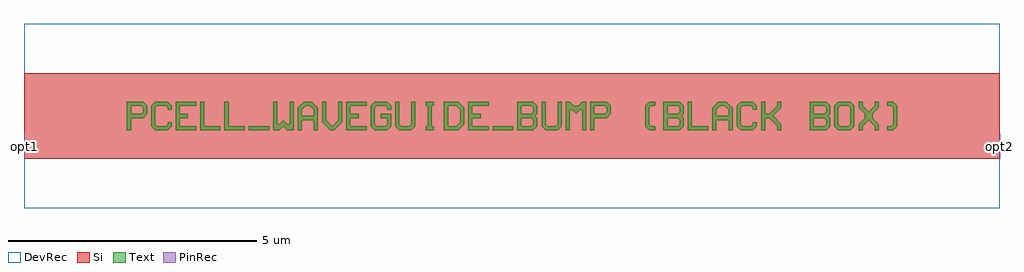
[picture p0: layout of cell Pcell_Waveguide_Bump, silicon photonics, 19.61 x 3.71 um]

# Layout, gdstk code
import gdstk
lib = gdstk.Library(unit=1e-6, precision=1e-09)
def R(c, l, rs):  # rectangles x0, y0, x1, y1
    for r in rs: c.add(gdstk.rectangle(r[:2], r[2:], *l))
def P(c, l, *ps):  # polygons
    for p in ps: c.add(gdstk.Polygon(p, *l))
Si = (1, 0)
PinRec = (1, 10)
Text = (10, 0)
DevRec = (68, 0)

text = lib.new_cell('TEXT')
R(text, Text, [(2.45,0,2.858,0.082), (7.35,0,7.758,0.082)])
P(text, Text, [(0,0),(0,0.571),(0.327,0.571),(0.408,0.49),(0.408,0.327),(0.327,0.245),(0.082,0.245),(0.082,0.327),(0.286,0.327),(0.327,0.367),(0.327,0.449),(0.286,0.49),(0.082,0.49),(0.082,0)],
  [(0.572,0),(0.49,0.082),(0.49,0.49),(0.572,0.571),(0.817,0.571),(0.898,0.49),(0.898,0.408),(0.817,0.408),(0.817,0.449),(0.776,0.49),(0.612,0.49),(0.572,0.449),(0.572,0.122),(0.612,0.082),(0.776,0.082),(0.817,0.122),(0.817,0.163),(0.898,0.163),(0.898,0.082),(0.817,0)],
  [(0.98,0),(0.98,0.571),(1.388,0.571),(1.388,0.49),(1.062,0.49),(1.062,0.327),(1.225,0.327),(1.225,0.245),(1.062,0.245),(1.062,0.082),(1.388,0.082),(1.388,0)],
  [(1.47,0),(1.47,0.571),(1.552,0.571),(1.552,0.082),(1.878,0.082),(1.878,0)],
  [(1.96,0),(1.96,0.571),(2.042,0.571),(2.042,0.082),(2.368,0.082),(2.368,0)],
  [(2.94,0),(2.94,0.571),(3.022,0.571),(3.022,0.122),(3.062,0.122),(3.144,0.204),(3.226,0.122),(3.267,0.122),(3.267,0.571),(3.348,0.571),(3.348,0),(3.226,0),(3.144,0.082),(3.062,0)],
  [(3.43,0),(3.43,0.449),(3.552,0.571),(3.716,0.571),(3.797,0.49),(3.593,0.49),(3.512,0.408),(3.512,0.286),(3.757,0.286),(3.757,0.408),(3.675,0.49),(3.797,0.49),(3.838,0.449),(3.838,0),(3.757,0),(3.757,0.204),(3.512,0.204),(3.512,0)],
  [(4.083,0),(3.92,0.163),(3.92,0.571),(4.002,0.571),(4.002,0.204),(4.124,0.082),(4.247,0.204),(4.247,0.571),(4.328,0.571),(4.328,0.163),(4.165,0)],
  [(4.41,0),(4.41,0.571),(4.818,0.571),(4.818,0.49),(4.492,0.49),(4.492,0.327),(4.655,0.327),(4.655,0.245),(4.492,0.245),(4.492,0.082),(4.818,0.082),(4.818,0)],
  [(4.982,0),(4.9,0.082),(4.9,0.49),(4.982,0.571),(5.227,0.571),(5.308,0.49),(5.308,0.408),(5.227,0.408),(5.227,0.449),(5.186,0.49),(5.022,0.49),(4.982,0.449),(4.982,0.122),(5.022,0.082),(5.186,0.082),(5.227,0.122),(5.227,0.245),(5.104,0.245),(5.104,0.327),(5.308,0.327),(5.308,0.082),(5.227,0)],
  [(5.472,0),(5.39,0.082),(5.39,0.571),(5.472,0.571),(5.472,0.122),(5.512,0.082),(5.676,0.082),(5.717,0.122),(5.717,0.571),(5.798,0.571),(5.798,0.082),(5.717,0)],
  [(6.002,0),(6.002,0.082),(6.043,0.082),(6.043,0.49),(6.002,0.49),(6.002,0.571),(6.166,0.571),(6.166,0.49),(6.125,0.49),(6.125,0.082),(6.166,0.082),(6.166,0)],
  [(6.37,0),(6.37,0.571),(6.656,0.571),(6.737,0.49),(6.452,0.49),(6.452,0.082),(6.615,0.082),(6.697,0.163),(6.697,0.408),(6.615,0.49),(6.737,0.49),(6.778,0.449),(6.778,0.122),(6.656,0)],
  [(6.86,0),(6.86,0.571),(7.268,0.571),(7.268,0.49),(6.942,0.49),(6.942,0.327),(7.105,0.327),(7.105,0.245),(6.942,0.245),(6.942,0.082),(7.268,0.082),(7.268,0)],
  [(7.84,0),(7.84,0.571),(8.167,0.571),(8.248,0.49),(7.922,0.49),(7.922,0.327),(8.126,0.327),(8.167,0.367),(8.167,0.449),(8.126,0.49),(8.248,0.49),(8.248,0.327),(8.207,0.286),(8.248,0.245),(7.922,0.245),(7.922,0.082),(8.126,0.082),(8.167,0.122),(8.167,0.204),(8.126,0.245),(8.248,0.245),(8.248,0.082),(8.167,0)],
  [(8.412,0),(8.33,0.082),(8.33,0.571),(8.412,0.571),(8.412,0.122),(8.452,0.082),(8.616,0.082),(8.657,0.122),(8.657,0.571),(8.738,0.571),(8.738,0.082),(8.657,0)],
  [(8.82,0),(8.82,0.571),(8.902,0.571),(8.983,0.49),(9.065,0.49),(9.147,0.571),(9.228,0.571),(9.228,0),(9.147,0),(9.147,0.408),(9.106,0.408),(9.024,0.327),(8.942,0.408),(8.902,0.408),(8.902,0)],
  [(9.31,0),(9.31,0.571),(9.637,0.571),(9.718,0.49),(9.718,0.327),(9.637,0.245),(9.392,0.245),(9.392,0.327),(9.596,0.327),(9.637,0.367),(9.637,0.449),(9.596,0.49),(9.392,0.49),(9.392,0)],
  [(10.494,0),(10.412,0.082),(10.412,0.49),(10.494,0.571),(10.617,0.571),(10.617,0.49),(10.535,0.49),(10.494,0.449),(10.494,0.122),(10.535,0.082),(10.617,0.082),(10.617,0)],
  [(10.78,0),(10.78,0.571),(11.107,0.571),(11.188,0.49),(10.862,0.49),(10.862,0.327),(11.066,0.327),(11.107,0.367),(11.107,0.449),(11.066,0.49),(11.188,0.49),(11.188,0.327),(11.147,0.286),(11.188,0.245),(10.862,0.245),(10.862,0.082),(11.066,0.082),(11.107,0.122),(11.107,0.204),(11.066,0.245),(11.188,0.245),(11.188,0.082),(11.107,0)],
  [(11.27,0),(11.27,0.571),(11.352,0.571),(11.352,0.082),(11.678,0.082),(11.678,0)],
  [(11.76,0),(11.76,0.449),(11.882,0.571),(12.046,0.571),(12.127,0.49),(11.923,0.49),(11.842,0.408),(11.842,0.286),(12.087,0.286),(12.087,0.408),(12.005,0.49),(12.127,0.49),(12.168,0.449),(12.168,0),(12.087,0),(12.087,0.204),(11.842,0.204),(11.842,0)],
  [(12.332,0),(12.25,0.082),(12.25,0.49),(12.332,0.571),(12.577,0.571),(12.658,0.49),(12.658,0.408),(12.577,0.408),(12.577,0.449),(12.536,0.49),(12.372,0.49),(12.332,0.449),(12.332,0.122),(12.372,0.082),(12.536,0.082),(12.577,0.122),(12.577,0.163),(12.658,0.163),(12.658,0.082),(12.577,0)],
  [(12.74,0),(12.74,0.571),(12.822,0.571),(12.822,0.327),(12.903,0.327),(13.067,0.49),(13.067,0.571),(13.148,0.571),(13.148,0.449),(12.985,0.286),(13.148,0.122),(13.148,0),(13.067,0),(13.067,0.082),(12.903,0.245),(12.822,0.245),(12.822,0)],
  [(13.72,0),(13.72,0.571),(14.047,0.571),(14.128,0.49),(13.802,0.49),(13.802,0.327),(14.006,0.327),(14.047,0.367),(14.047,0.449),(14.006,0.49),(14.128,0.49),(14.128,0.327),(14.087,0.286),(14.128,0.245),(13.802,0.245),(13.802,0.082),(14.006,0.082),(14.047,0.122),(14.047,0.204),(14.006,0.245),(14.128,0.245),(14.128,0.082),(14.047,0)],
  [(14.292,0),(14.21,0.082),(14.21,0.49),(14.292,0.571),(14.537,0.571),(14.618,0.49),(14.618,0.286),(14.537,0.286),(14.537,0.449),(14.496,0.49),(14.332,0.49),(14.292,0.449),(14.292,0.122),(14.332,0.082),(14.496,0.082),(14.537,0.122),(14.537,0.286),(14.618,0.286),(14.618,0.082),(14.537,0)],
  [(14.7,0),(14.7,0.122),(14.822,0.245),(14.822,0.327),(14.7,0.449),(14.7,0.571),(14.782,0.571),(14.782,0.49),(14.904,0.367),(15.027,0.49),(15.027,0.571),(15.108,0.571),(15.108,0.449),(14.986,0.327),(14.986,0.245),(15.108,0.122),(15.108,0),(15.027,0),(15.027,0.082),(14.904,0.204),(14.782,0.082),(14.782,0)],
  [(15.272,0),(15.272,0.082),(15.353,0.082),(15.394,0.122),(15.394,0.449),(15.353,0.49),(15.272,0.49),(15.272,0.571),(15.394,0.571),(15.476,0.49),(15.476,0.082),(15.394,0)])

pcell_waveguide_bump = lib.new_cell('Pcell_Waveguide_Bump')
R(pcell_waveguide_bump, Si, [(0,-0.25,19.592,1.463)])
R(pcell_waveguide_bump, DevRec, [(0,-1.25,19.592,2.463)])
pcell_waveguide_bump.add(gdstk.FlexPath([(0.01,0),(-0.01,0)], 0.5, ends="flush", simple_path=True, layer=1, datatype=10))  # PinRec
pcell_waveguide_bump.add(gdstk.FlexPath([(19.58,0),(19.6,0)], 0.5, ends="flush", simple_path=True, layer=1, datatype=10))  # PinRec
pcell_waveguide_bump.add(gdstk.Reference(text, (2.058,0.321)))
pcell_waveguide_bump.add(gdstk.Label('opt1', (0,0), layer=1, texttype=10))
pcell_waveguide_bump.add(gdstk.Label('opt2', (19.59,0), layer=1, texttype=10))

lib.write_gds('Pcell_Waveguide_Bump.gds')
